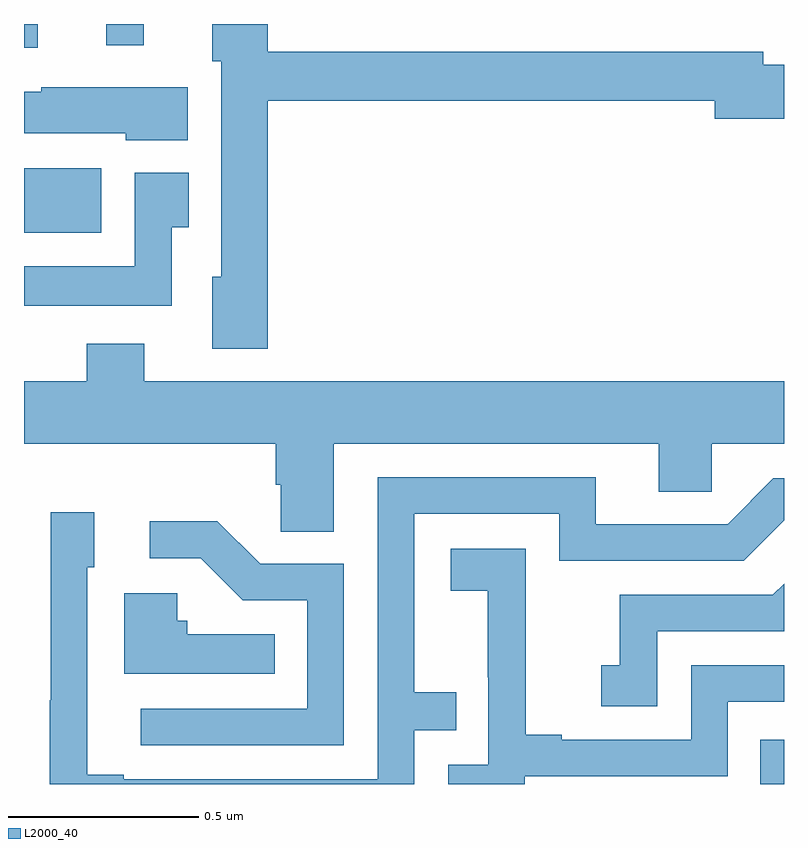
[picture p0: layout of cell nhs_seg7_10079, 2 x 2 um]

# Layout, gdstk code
import gdstk
lib = gdstk.Library(unit=1e-6, precision=1e-09)
def R(c, l, rs):  # rectangles x0, y0, x1, y1
    for r in rs: c.add(gdstk.rectangle(r[:2], r[2:], *l))
def P(c, l, *ps):  # polygons
    for p in ps: c.add(gdstk.Polygon(p, *l))
L2000_40 = (2000, 40)

nhs_seg7_10079 = lib.new_cell('nhs_seg7_10079')
R(nhs_seg7_10079, L2000_40, [(246.937,1053,247,1053.117), (245,1054.451,245.203,1054.621), (245,1054.937,245.036,1055), (245.216,1054.944,245.315,1055)])
P(nhs_seg7_10079, L2000_40, [(245.642,1054.798),(246.818,1054.798),(246.818,1054.751),(247,1054.751),(247,1054.893),(246.946,1054.893),(246.946,1054.927),(245.642,1054.927),(245.642,1055),(245.495,1055),(245.495,1054.902),(245.519,1054.902),(245.519,1054.335),(245.495,1054.335),(245.495,1054.145),(245.642,1054.145)],
  [(245.431,1054.834),(245.046,1054.834),(245.046,1054.822),(245,1054.822),(245,1054.712),(245.268,1054.712),(245.268,1054.694),(245.431,1054.694)],
  [(245.389,1054.465),(245.434,1054.465),(245.434,1054.609),(245.292,1054.609),(245.292,1054.363),(245,1054.363),(245,1054.259),(245.389,1054.259)],
  [(245.815,1053.896),(246.671,1053.896),(246.671,1053.769),(246.81,1053.769),(246.81,1053.896),(247,1053.896),(247,1054.06),(245.317,1054.06),(245.317,1054.159),(245.165,1054.159),(245.165,1054.06),(245,1054.06),(245,1053.896),(245.663,1053.896),(245.663,1053.787),(245.676,1053.787),(245.676,1053.664),(245.815,1053.664)],
  [(246.027,1053.141),(246.137,1053.141),(246.137,1053.242),(246.027,1053.242),(246.027,1053.711),(246.408,1053.711),(246.408,1053.588),(246.894,1053.588),(247,1053.694),(247,1053.804),(246.972,1053.804),(246.852,1053.684),(246.505,1053.684),(246.505,1053.807),(245.931,1053.807),(245.931,1053.012),(245.263,1053.012),(245.263,1053.025),(245.166,1053.025),(245.166,1053.57),(245.185,1053.57),(245.185,1053.715),(245.07,1053.715),(245.07,1053.221),(245.068,1053.221),(245.068,1053),(246.027,1053)],
  [(245.841,1053.579),(245.622,1053.579),(245.509,1053.692),(245.331,1053.692),(245.331,1053.594),(245.465,1053.594),(245.576,1053.483),(245.745,1053.483),(245.745,1053.198),(245.307,1053.198),(245.307,1053.102),(245.841,1053.102)],
  [(246.318,1053.021),(246.852,1053.021),(246.852,1053.216),(247,1053.216),(247,1053.312),(246.756,1053.312),(246.756,1053.117),(246.415,1053.117),(246.415,1053.13),(246.32,1053.13),(246.32,1053.413),(246.321,1053.413),(246.321,1053.619),(246.123,1053.619),(246.123,1053.509),(246.221,1053.509),(246.221,1053.281),(246.222,1053.281),(246.222,1053.051),(246.117,1053.051),(246.117,1053),(246.318,1053)],
  [(246.666,1053.402),(247,1053.402),(247,1053.527),(246.971,1053.498),(246.568,1053.498),(246.568,1053.313),(246.519,1053.313),(246.519,1053.204),(246.666,1053.204)],
  [(245.66,1053.394),(245.43,1053.394),(245.43,1053.429),(245.403,1053.429),(245.403,1053.502),(245.264,1053.502),(245.264,1053.29),(245.66,1053.29)])

lib.write_gds('nhs_seg7_10079.gds')
